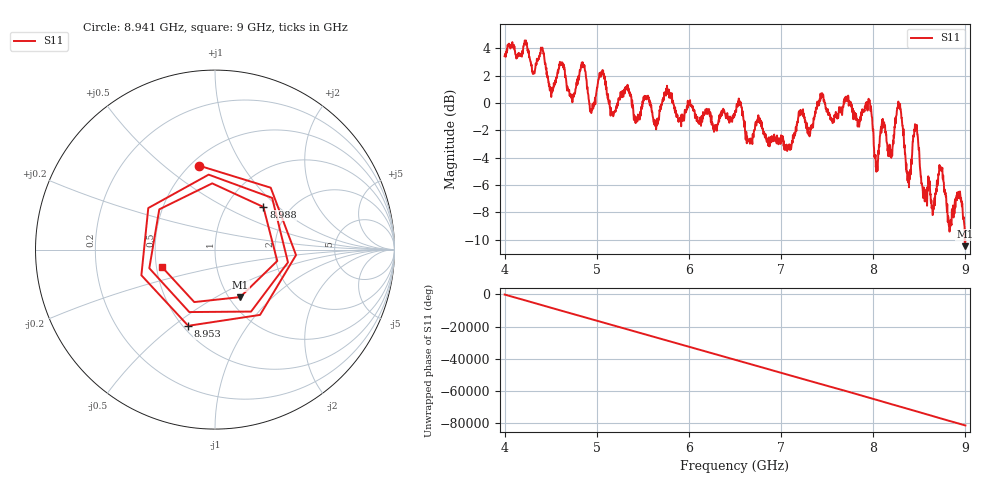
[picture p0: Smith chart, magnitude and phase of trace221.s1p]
! Created with skrf 1.8.0 (http://scikit-rf.org).
# Hz S RI R 50.0
!freq ReS11 ImS11
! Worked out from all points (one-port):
!   1601 points, 4 GHz to 9 GHz, reference 50 ohm
!   lowest |S11| = -10.5 dB at 8.994 GHz (marker M1), VSWR 1.86, Z = 56.2 - j32.7 ohm
!   |S11| at or under -10 dB: 8.993001 GHz to end of sweep
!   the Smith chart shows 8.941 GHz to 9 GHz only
!   S11 on the Smith chart (normalised r, x): 8.941 GHz: 0.55, +0.67; 8.953 GHz: 0.53, -0.57; 8.988 GHz: 1.48, +0.81; 9 GHz: 0.53, -0.11
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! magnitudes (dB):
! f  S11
! 4 GHz  3.4
! 4.406 GHz  3.9
! 4.506 GHz  0.4
! 4.625 GHz  2.9
! 4.731 GHz  0.2
! 4.853 GHz  2.8
! 4.944 GHz  -0.6
! 5.053 GHz  2.1
! 5.166 GHz  -0.8
! 5.25 GHz  0.2
! 5.875 GHz  -0.9
! 6.5 GHz  -0.6
! 7.125 GHz  -2.9
! 7.434 GHz  0.4
! 7.75 GHz  0.0
! 7.953 GHz  0.1
! 8.034 GHz  -5.0
! 8.281 GHz  -0.1
! 8.375 GHz  -5.4
! 8.459 GHz  -1.6
! 8.559 GHz  -7.2
! 8.731 GHz  -4.7
! 8.825 GHz  -8.7
! 8.941 GHz  -6.5
! 8.953 GHz  -6.9
! 8.988 GHz  -8.9
! 8.994 GHz  -10.5
! 9 GHz  -10.1
